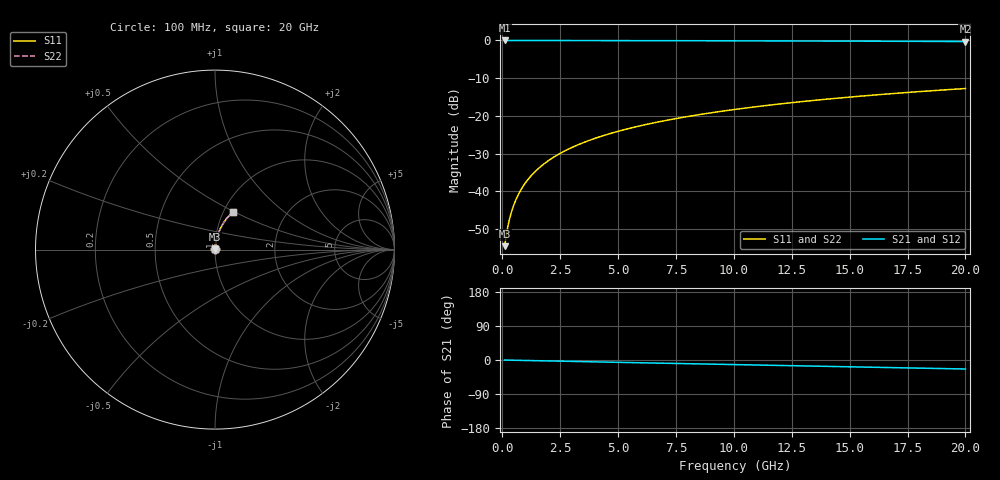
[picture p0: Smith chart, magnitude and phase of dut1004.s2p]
! Touchstone file exported from HFSS 2026.1.0
!  File:  C:/ffzhzh/LocalFiles/Ansys_Project_Files/temp_train_TMRDL_1004_1783159591_43440.aedt
!  Generated:  06:07:45 PM Jul  4, 2026
!  Design:  TMRDL
!  Project:  temp_train_TMRDL_1004_1783159591_43440
! Variables:
!  h_bsmrdl = 2um
!  h_ox = 20um
!  h_rdl = 5um
!  h_sub = 80um
!  h_tmrdl = 5.21um
!  h_tsv = 80um
!  h_via = 3um
!  l_bsmrdl = 300um
!  l_sub = 723.52um
!  l_tmrdl = 323.52um
!  m_sub = 200um
!  pitch = 45.41um
!  r_tsv = 6um
!  s_tmrdl = 10um
!  w_bsmrdl = 18um
!  w_sub = 500um
!  w_tmrdl = 19.43um
!  x_tsv_center1 = 333.235um
!  x_tsv_center2 = 651.235um
!  x_tsv_center3 = 994.185um
!  x_tsv_center4 = 1312.185um
!  x_tsv_center5 = 1655.135um
!  x_tsv_center6 = 1973.135um
# GHz S MA R 50.000000
! Terminal data exported
! Port[1] = TM_RDL1_1_T1
! Port[2] = TM_RDL1_1_T2
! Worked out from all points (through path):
!   200 points, 100 MHz to 20 GHz, reference 50 ohm
!   highest |S21| = -0.01 dB at 100 MHz (marker M1); lowest = -0.3 dB at 20 GHz (marker M2)
!   group delay of S21, straight-line fit = 3.29 ps
!   lowest |S11| = -54.6 dB at 100 MHz (marker M3), VSWR 1.00, Z = 50.1 + j0.137 ohm
!   |S11| at or under -10 dB: start of sweep to end of sweep
!   |S22| runs from -54.6 to -12.8 dB; largest |S21 - S12| = 3.7e-15
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0.1  0.001871 47.0  0.9987 -0.1  0.9987 -0.1  0.001871 47.0
! Gamma 0 0 0 0
! Port Impedance 50 0 50 0
0.2  0.002968 63.0  0.9987 -0.3  0.9987 -0.3  0.002968 63.0
0.3  0.004151 70.4  0.9986 -0.4  0.9986 -0.4  0.004151 70.4
0.4  0.005375 74.6  0.9985 -0.5  0.9985 -0.5  0.005375 74.6
0.5  0.00662 77.1  0.9985 -0.6  0.9985 -0.6  0.00662 77.1
0.6  0.007877 78.8  0.9985 -0.8  0.9985 -0.8  0.007877 78.8
0.8  0.01041 80.9  0.9984 -1.0  0.9984 -1.0  0.01041 80.9
1.1  0.01421 82.4  0.9983 -1.4  0.9983 -1.4  0.01421 82.4
1.3  0.01675 82.9  0.9982 -1.6  0.9982 -1.6  0.01675 82.9
1.5  0.01928 83.1  0.9981 -1.9  0.9981 -1.9  0.01928 83.1
1.8  0.02306 83.3  0.9979 -2.2  0.9979 -2.2  0.02306 83.3
2.1  0.02683 83.3  0.9977 -2.6  0.9977 -2.6  0.02683 83.3
2.7  0.0343 83.0  0.9972 -3.4  0.9972 -3.4  0.0343 83.0
3.5  0.04415 82.3  0.9965 -4.3  0.9965 -4.3  0.04415 82.3
4.2  0.05268 81.7  0.9957 -5.2  0.9957 -5.2  0.05268 81.7
5  0.06234 80.9  0.9948 -6.2  0.9948 -6.2  0.06234 80.9
6.8  0.08379 79.0  0.9926 -8.3  0.9926 -8.3  0.0838 79.0
8.3  0.1014 77.4  0.9905 -10.1  0.9905 -10.1  0.1014 77.4
10.1  0.1223 75.5  0.9877 -12.3  0.9877 -12.3  0.1223 75.5
13.4  0.1596 71.9  0.9817 -16.1  0.9817 -16.1  0.1596 71.9
16.7  0.1957 68.3  0.9746 -20.0  0.9746 -20.0  0.1957 68.3
20  0.2302 64.6  0.9666 -23.7  0.9666 -23.7  0.2302 64.6
